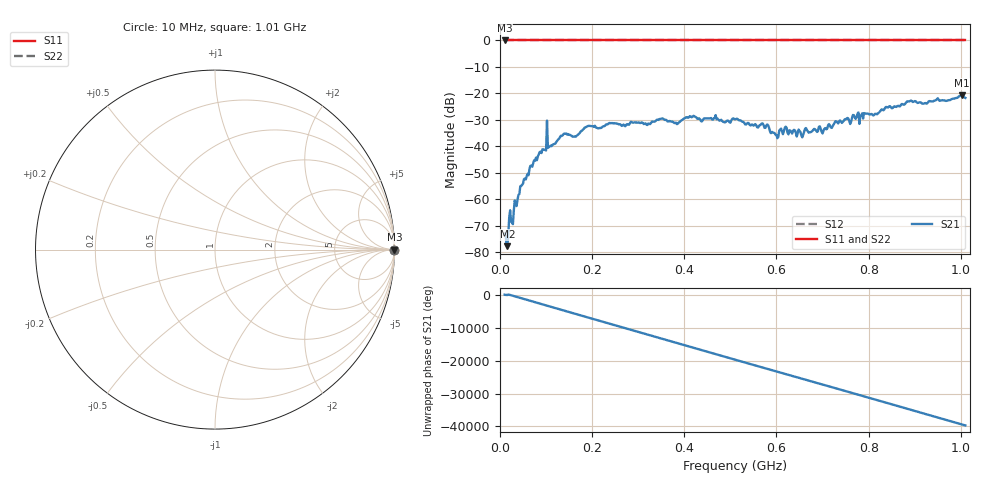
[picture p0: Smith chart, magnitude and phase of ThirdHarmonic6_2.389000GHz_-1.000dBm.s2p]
! 8/17/2025 3:51:48 AM
! C:\ANRITSUVNA\TEMP\TEMP.S2P
! CHANNEL.1
! TR.MEASUREMENT
! RAW.DATA
! RF.CORRECTION.OFF
! AVERAGING.OFF
! IF.BANDWIDTH: 5KHZ
! SWEEPTYPE:  FREQ.SWEEP(Linear)
! Reference Plane Port Info
! PORT:  PORT1  PORT2
! DISTANCE:  0  m  0  m
! TIME:  0  s  0  s
! PHASE.OFFSET:  0  deg.  0  deg.
! LOSS:  0  dB  0  dB
! REF.LOSS:  0  dB  0  dB
! REF.FREQ:  0  Hz  0  Hz
! Power Info
! POWER:  -20  dBm  -20  dBm
! EFF.POWER:  -20  dBm  -20  dBm
! SOURCE.ATTEN:  0  dB  0  dB
! TEST.ATTEN:  0  dB  0  dB
# GHZ S RI R 50.0
! FREQ.GHZ  S11RE  S11IM  S21RE  S21IM  S12RE  S12IM  S22RE  S22IM
!; PortSelection: Port_12
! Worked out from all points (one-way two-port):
!   501 points, 10 MHz to 1.01 GHz, reference 50 ohm
!   highest |S21| = -20.78 dB at 1.002 GHz (marker M1); lowest = -77.7 dB at 16 MHz (marker M2)
!   lowest |S11| = 0.0 dB at 10 MHz (marker M3)
!   |S11| at or under -10 dB: nowhere
!   |S22| runs from 0.0 to 0.0 dB; largest |S21 - S12| = 1.1
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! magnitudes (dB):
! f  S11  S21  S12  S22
! 10 MHz  0.0  -72.9  0.0  0.0
! 16 MHz  0.0  -77.7  0.0  0.0
! 22 MHz  0.0  -64.2  0.0  0.0
! 48 MHz  0.0  -54.6  0.0  0.0
! 96 MHz  0.0  -41.3  0.0  0.0
! 98 MHz  0.0  -41.4  0.0  0.0
! 106 MHz  0.0  -40.3  0.0  0.0
! 108 MHz  0.0  -40.1  0.0  0.0
! 136 MHz  0.0  -35.9  0.0  0.0
! 162 MHz  0.0  -36.3  0.0  0.0
! 178 MHz  0.0  -34.1  0.0  0.0
! 344 MHz  0.0  -30.0  0.0  0.0
! 382 MHz  0.0  -31.1  0.0  0.0
! 510 MHz  0.0  -29.8  0.0  0.0
! 580 MHz  0.0  -31.7  0.0  0.0
! 600 MHz  0.0  -35.7  0.0  0.0
! 620 MHz  0.0  -32.6  0.0  0.0
! 656 MHz  0.0  -36.6  0.0  0.0
! 678 MHz  0.0  -34.2  0.0  0.0
! 844 MHz  0.0  -24.9  0.0  0.0
! 1.002 GHz  0.0  -20.8  0.0  0.0
! 1.01 GHz  0.0  -21.7  0.0  0.0
